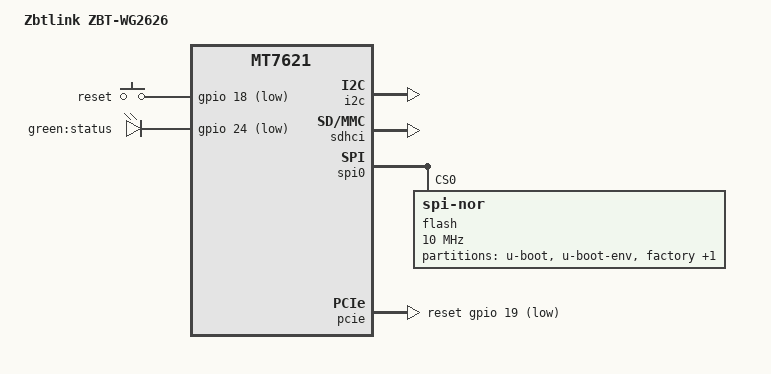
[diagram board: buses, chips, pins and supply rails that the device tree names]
#include "mt7621.dtsi"

#include <dt-bindings/gpio/gpio.h>
#include <dt-bindings/input/input.h>

/ {
	compatible = "zbtlink,zbt-wg2626", "mediatek,mt7621-soc";
	model = "Zbtlink ZBT-WG2626";

	aliases {
		led-boot = &led_status;
		led-failsafe = &led_status;
		led-running = &led_status;
		led-upgrade = &led_status;
	};

	chosen {
		bootargs = "console=ttyS0,115200";
	};

	keys {
		compatible = "gpio-keys";

		reset {
			label = "reset";
			gpios = <&gpio 18 GPIO_ACTIVE_LOW>;
			linux,code = <KEY_RESTART>;
		};
	};

	leds {
		compatible = "gpio-leds";

		led_status: status {
			label = "green:status";
			gpios = <&gpio 24 GPIO_ACTIVE_LOW>;
		};
	};
};

&i2c {
	status = "okay";
};

&sdhci {
	status = "okay";
};

&spi0 {
	status = "okay";

	flash@0 {
		compatible = "jedec,spi-nor";
		reg = <0>;
		spi-max-frequency = <10000000>;

		partitions {
			compatible = "fixed-partitions";
			#address-cells = <1>;
			#size-cells = <1>;

			partition@0 {
				label = "u-boot";
				reg = <0x0 0x30000>;
				read-only;
			};

			partition@30000 {
				label = "u-boot-env";
				reg = <0x30000 0x10000>;
				read-only;
			};

			factory: partition@40000 {
				label = "factory";
				reg = <0x40000 0x10000>;
				read-only;
			};

			partition@50000 {
				compatible = "denx,uimage";
				label = "firmware";
				reg = <0x50000 0xfb0000>;
			};
		};
	};
};

&pcie {
	status = "okay";

	reset-gpios = <&gpio 19 GPIO_ACTIVE_LOW>,
			<&gpio 8 GPIO_ACTIVE_LOW>;
};

&pcie0 {
	mt76@0,0 {
		reg = <0x0000 0 0 0 0>;
		mediatek,mtd-eeprom = <&factory 0x8000>;
		ieee80211-freq-limit = <5000000 6000000>;
	};
};

&pcie1 {
	mt76@0,0 {
		reg = <0x0000 0 0 0 0>;
		mediatek,mtd-eeprom = <&factory 0x0000>;
		ieee80211-freq-limit = <2400000 2500000>;
	};
};

&ethernet {
	pinctrl-0 = <&mdio_pins>, <&rgmii1_pins>;
};

&gmac0 {
	nvmem-cells = <&macaddr_factory_e000>;
	nvmem-cell-names = "mac-address";
};

&switch0 {
	ports {
		port@0 {
			status = "okay";
			label = "lan4";
		};

		port@1 {
			status = "okay";
			label = "lan3";
		};

		port@2 {
			status = "okay";
			label = "lan2";
		};

		port@3 {
			status = "okay";
			label = "lan1";
		};

		port@4 {
			status = "okay";
			label = "wan";
			nvmem-cells = <&macaddr_factory_e000>;
			nvmem-cell-names = "mac-address";
			mac-address-increment = <1>;
		};
	};
};

&state_default {
	gpio {
		groups = "wdt", "rgmii2";
		function = "gpio";
	};
};

&factory {
	compatible = "nvmem-cells";
	#address-cells = <1>;
	#size-cells = <1>;

	macaddr_factory_e000: macaddr@e000 {
		reg = <0xe000 0x6>;
	};
};
